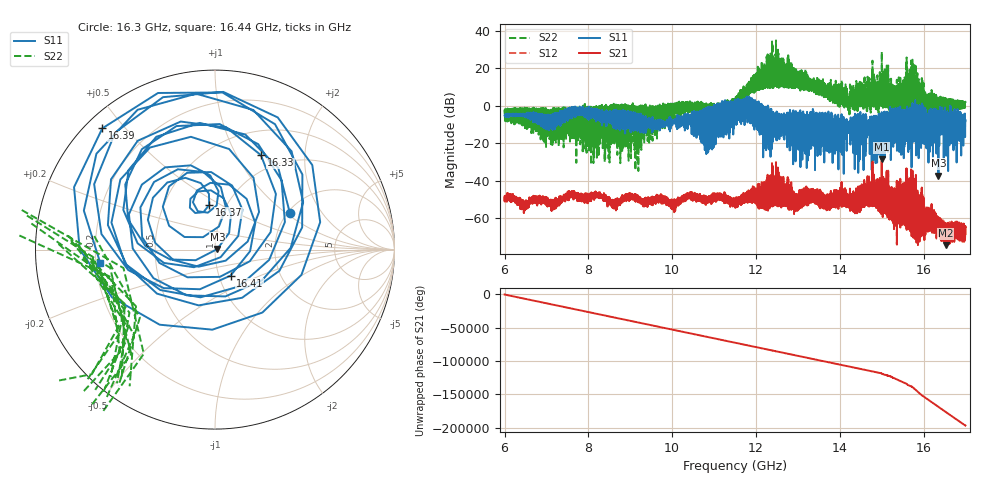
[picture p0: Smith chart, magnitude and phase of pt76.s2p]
#  HZ  S  RI  R  50.00
! Rohde & Schwarz Vector Network Analyzer
! Rohde-Schwarz,ZNA67-2Port,1332450062101215,3.01
! Created: UTC 10/19/2026, 9:27:39 AM
! freq[Hz]  re:S11  im:S11  re:S21  im:S21  re:S12  im:S12  re:S22  im:S22
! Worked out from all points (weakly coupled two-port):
!   11001 points, 6 GHz to 17 GHz, reference 50 ohm
!   highest |S21| = -28.59 dB at 15 GHz (marker M1); lowest = -74.6 dB at 16.54 GHz (marker M2)
!   lowest |S11| = -37.3 dB at 16.36 GHz (marker M3), VSWR 1.03, Z = 51.3 + j0.343 ohm
!   |S11| at or under -10 dB: 14.12695 GHz to 14.15478 GHz (27.84 MHz wide, 0.197 % of centre); 14.19424 GHz to 14.2121 GHz (17.86 MHz wide, 0.126 % of centre); 16.58519 GHz to 16.61144 GHz (26.25 MHz wide, 0.158 % of centre) (the widest 3 of 622)
!   |S22| runs from -34.9 to 34.9 dB; largest |S21 - S12| = 0.0023
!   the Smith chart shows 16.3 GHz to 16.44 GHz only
!   S11 on the Smith chart (normalised r, x): 16.3 GHz: 2.07, +1.06; 16.33 GHz: 0.79, +1.27; 16.37 GHz: 0.83, +0.44; 16.39 GHz: 0.05, +0.43; 16.41 GHz: 1.14, -0.34; 16.44 GHz: 0.22, -0.06
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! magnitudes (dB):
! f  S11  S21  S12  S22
! 6 GHz  -5.2  -48.5  -48.5  -4.4
! 7.09 GHz  -5.3  -52.8  -52.6  -4.5
! 7.834 GHz  -3.1  -47.6  -47.5  -1.4
! 9.667 GHz  -7.7  -49.7  -49.9  -0.3
! 11.5 GHz  2.9  -49.9  -49.8  1.6
! 11.86 GHz  -9.0  -49.9  -49.9  11.1
! 12.43 GHz  -4.9  -49.7  -49.6  13.2
! 13.33 GHz  -8.3  -49.0  -48.9  10.7
! 14.21 GHz  -11.1  -49.2  -49.1  3.0
! 15 GHz  -4.7  -28.6  -28.1  28.8
! 15.17 GHz  -9.0  -53.5  -53.5  7.9
! 15.77 GHz  -12.2  -52.3  -52.4  3.4
! 16.1 GHz  -11.2  -58.3  -58.2  2.2
! 16.3 GHz  -6.7  -60.2  -60.5  3.1
! 16.33 GHz  -4.7  -63.1  -63.2  2.1
! 16.36 GHz  -37.3  -62.5  -61.7  4.3
! 16.37 GHz  -12.0  -60.7  -60.4  2.2
! 16.39 GHz  -0.7  -69.4  -68.9  -2.2
! 16.41 GHz  -15.4  -60.7  -61.5  4.0
! 16.44 GHz  -3.8  -64.3  -64.9  2.4
! 16.54 GHz  -6.6  -74.6  -75.0  -2.4
! 17 GHz  -8.0  -68.2  -69.1  1.6
